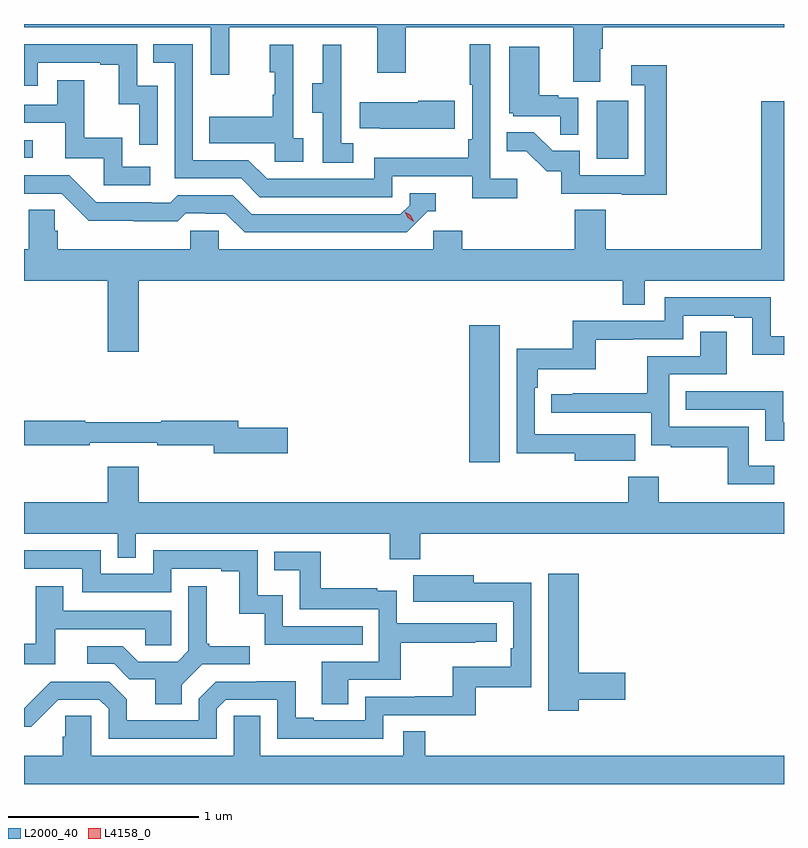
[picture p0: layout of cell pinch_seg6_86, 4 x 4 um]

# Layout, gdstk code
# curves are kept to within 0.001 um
import gdstk
lib = gdstk.Library(unit=1e-6, precision=1e-09)
def R(c, l, rs):  # rectangles x0, y0, x1, y1
    for r in rs: c.add(gdstk.rectangle(r[:2], r[2:], *l))
def P(c, l, *ps):  # polygons
    for p in ps: c.add(gdstk.Polygon(p, *l))
L2000_40 = (2000, 40)
L4158_0 = (4158, 0)

pinch_seg6_86 = lib.new_cell('pinch_seg6_86')
R(pinch_seg6_86, L2000_40, [(946.13,931.728,946.291,932.449), (946.802,933.324,946.966,933.631), (943.787,933.33,943.834,933.423)])
P(pinch_seg6_86, L2000_40, [(946.819,933.904),(946.832,933.904),(946.832,934.016),(947.787,934.016),(947.787,934.034),(943.787,934.034),(943.787,934.016),(944.769,934.016),(944.769,933.768),(944.867,933.768),(944.867,934.016),(945.647,934.016),(945.647,933.777),(945.795,933.777),(945.795,934.016),(946.679,934.016),(946.679,933.73),(946.819,933.73)],
  [(946.384,933.22),(946.242,933.22),(946.242,933.928),(946.134,933.928),(946.134,933.715),(946.146,933.715),(946.146,933.427),(946.126,933.427),(946.126,933.331),(945.63,933.331),(945.63,933.219),(945.066,933.219),(944.967,933.318),(944.676,933.318),(944.676,933.927),(944.467,933.927),(944.467,933.831),(944.58,933.831),(944.58,933.222),(944.93,933.222),(945.029,933.123),(945.726,933.123),(945.726,933.234),(946.145,933.234),(946.145,933.118),(946.384,933.118)],
  [(944.49,933.708),(944.382,933.708),(944.382,933.927),(943.787,933.927),(943.787,933.708),(943.86,933.708),(943.86,933.831),(944.189,933.831),(944.189,933.819),(944.285,933.819),(944.285,933.611),(944.394,933.611),(944.394,933.399),(944.49,933.399)],
  [(945.256,933.434),(945.204,933.434),(945.204,933.925),(945.08,933.925),(945.08,933.78),(945.106,933.78),(945.106,933.662),(945.096,933.662),(945.096,933.547),(944.761,933.547),(944.761,933.407),(945.108,933.407),(945.108,933.309),(945.256,933.309)],
  [(945.52,933.407),(945.456,933.407),(945.456,933.711),(945.458,933.711),(945.458,933.925),(945.359,933.925),(945.359,933.723),(945.305,933.723),(945.305,933.568),(945.36,933.568),(945.36,933.304),(945.52,933.304)],
  [(946.704,933.645),(946.598,933.645),(946.598,933.658),(946.498,933.658),(946.498,933.913),(946.34,933.913),(946.34,933.564),(946.362,933.564),(946.362,933.549),(946.609,933.549),(946.609,933.451),(946.704,933.451)],
  [(947.171,933.817),(946.983,933.817),(946.983,933.711),(947.055,933.711),(947.055,933.237),(946.713,933.237),(946.713,933.366),(946.569,933.366),(946.471,933.464),(946.327,933.464),(946.327,933.365),(946.431,933.365),(946.538,933.258),(946.615,933.258),(946.615,933.141),(946.933,933.141),(946.933,933.136),(947.171,933.136)],
  [(944.452,933.282),(944.304,933.282),(944.304,933.436),(944.105,933.436),(944.105,933.739),(943.961,933.739),(943.961,933.609),(943.787,933.609),(943.787,933.513),(944.003,933.513),(944.003,933.327),(944.208,933.327),(944.208,933.186),(944.452,933.186)],
  [(946.054,933.63),(945.863,933.63),(945.863,933.622),(945.553,933.622),(945.553,933.485),(945.661,933.485),(945.661,933.482),(946.054,933.482)],
  [(944.392,932.684),(946.939,932.684),(946.939,932.557),(947.055,932.557),(947.055,932.684),(947.787,932.684),(947.787,933.628),(947.666,933.628),(947.666,932.848),(946.85,932.848),(946.85,933.056),(946.685,933.056),(946.685,932.848),(946.094,932.848),(946.094,932.946),(945.942,932.946),(945.942,932.848),(944.811,932.848),(944.811,932.946),(944.661,932.946),(944.661,932.848),(943.964,932.848),(943.964,932.946),(943.949,932.946),(943.949,933.056),(943.812,933.056),(943.812,932.848),(943.787,932.848),(943.787,932.684),(944.228,932.684),(944.228,932.31),(944.392,932.31)],
  [(945.912,933.048),(945.955,933.048),(945.955,933.144),(945.816,933.144),(945.816,933.081),(945.768,933.033),(944.985,933.033),(944.886,933.132),(944.597,933.132),(944.558,933.093),(944.459,933.093),(944.459,933.096),(944.166,933.096),(944.025,933.237),(943.787,933.237),(943.787,933.141),(943.986,933.141),(944.128,932.999),(944.364,932.999),(944.364,932.997),(944.597,932.997),(944.639,933.039),(944.742,933.039),(944.742,933.036),(944.849,933.036),(944.948,932.937),(945.801,932.937)],
  [(947.003,931.876),(946.789,931.876),(946.789,931.875),(946.476,931.875),(946.476,932.12),(946.49,932.12),(946.49,932.216),(946.795,932.216),(946.795,932.371),(946.991,932.371),(946.991,932.376),(947.256,932.376),(947.256,932.499),(947.525,932.499),(947.525,932.487),(947.621,932.487),(947.621,932.294),(947.787,932.294),(947.787,932.391),(947.718,932.391),(947.718,932.595),(947.16,932.595),(947.16,932.472),(946.674,932.472),(946.674,932.326),(946.38,932.326),(946.38,931.774),(946.685,931.774),(946.685,931.736),(947.003,931.736)],
  [(947.735,931.708),(947.601,931.708),(947.601,931.914),(947.184,931.914),(947.184,932.19),(947.485,932.19),(947.485,932.414),(947.345,932.414),(947.345,932.286),(947.068,932.286),(947.068,932.09),(946.675,932.09),(946.675,932.085),(946.563,932.085),(946.563,931.989),(947.088,931.989),(947.088,931.817),(947.191,931.817),(947.191,931.806),(947.49,931.806),(947.49,931.611),(947.735,931.611)],
  [(947.787,931.939),(947.784,931.939),(947.784,932.1),(947.269,932.1),(947.269,932.004),(947.688,932.004),(947.688,931.841),(947.787,931.841)],
  [(945.175,931.91),(944.914,931.91),(944.914,931.946),(944.51,931.946),(944.51,931.939),(944.11,931.939),(944.11,931.946),(943.787,931.946),(943.787,931.818),(944.132,931.818),(944.132,931.83),(944.488,931.83),(944.488,931.818),(944.786,931.818),(944.786,931.775),(945.175,931.775)],
  [(945.872,931.352),(947.787,931.352),(947.787,931.516),(947.127,931.516),(947.127,931.651),(946.967,931.651),(946.967,931.516),(944.392,931.516),(944.392,931.705),(944.228,931.705),(944.228,931.516),(943.787,931.516),(943.787,931.352),(944.28,931.352),(944.28,931.225),(944.376,931.225),(944.376,931.352),(945.712,931.352),(945.712,931.217),(945.872,931.217)],
  [(945.569,930.864),(945.15,930.864),(945.15,931.027),(945.018,931.027),(945.018,931.263),(944.466,931.263),(944.466,931.14),(944.19,931.14),(944.19,931.263),(943.787,931.263),(943.787,931.167),(944.094,931.167),(944.094,931.044),(944.562,931.044),(944.562,931.167),(944.825,931.167),(944.825,931.155),(944.921,931.155),(944.921,930.929),(945.054,930.929),(945.054,930.768),(945.569,930.768)],
  [(945.493,930.582),(945.77,930.582),(945.77,930.778),(946.163,930.778),(946.163,930.783),(946.276,930.783),(946.276,930.879),(945.75,930.879),(945.75,931.051),(945.647,931.051),(945.647,931.063),(945.349,931.063),(945.349,931.257),(945.103,931.257),(945.103,931.16),(945.238,931.16),(945.238,930.954),(945.654,930.954),(945.654,930.678),(945.353,930.678),(945.353,930.454),(945.493,930.454)],
  [(946.708,930.478),(946.951,930.478),(946.951,930.62),(946.708,930.62),(946.708,931.141),(946.547,931.141),(946.547,930.42),(946.708,930.42)],
  [(944.802,930.429),(944.85,930.477),(945.12,930.477),(945.12,930.273),(945.678,930.273),(945.678,930.396),(946.165,930.396),(946.165,930.543),(946.458,930.543),(946.458,931.094),(946.153,931.094),(946.153,931.132),(945.835,931.132),(945.835,930.992),(946.362,930.993),(946.362,930.748),(946.349,930.748),(946.349,930.652),(946.044,930.652),(946.044,930.497),(945.847,930.497),(945.847,930.492),(945.582,930.492),(945.582,930.369),(945.313,930.369),(945.313,930.382),(945.217,930.382),(945.217,930.575),(945.012,930.575),(945.012,930.573),(944.796,930.573),(944.706,930.483),(944.706,930.369),(944.329,930.369),(944.329,930.479),(944.235,930.573),(943.929,930.573),(943.787,930.432),(943.787,930.335),(943.826,930.335),(943.968,930.477),(944.184,930.477),(944.232,930.429),(944.232,930.273),(944.802,930.273)],
  [(944.617,930.556),(944.724,930.663),(944.974,930.663),(944.974,930.76),(944.761,930.76),(944.761,930.772),(944.749,930.772),(944.749,931.075),(944.652,931.075),(944.652,930.735),(944.595,930.678),(944.389,930.678),(944.308,930.759),(944.121,930.759),(944.121,930.666),(944.262,930.666),(944.342,930.586),(944.477,930.586),(944.477,930.454),(944.617,930.454)],
  [(943.951,930.849),(944.425,930.849),(944.425,930.765),(944.562,930.765),(944.562,930.945),(943.993,930.945),(943.993,931.075),(943.849,931.075),(943.849,930.772),(943.787,930.772),(943.787,930.663),(943.951,930.663)],
  [(947.787,930.184),(945.899,930.184),(945.899,930.311),(945.783,930.311),(945.783,930.184),(945.031,930.184),(945.031,930.392),(944.892,930.392),(944.892,930.184),(944.142,930.184),(944.142,930.392),(944.005,930.392),(944.005,930.282),(943.991,930.282),(943.991,930.184),(943.787,930.184),(943.787,930.034),(947.787,930.034)])
P(pinch_seg6_86, L4158_0, [(945.838,932.994),(945.808,933.014),(945.792,933.047),(945.792,933.047),(945.792,933.047),(945.823,933.027),(945.838,932.994),(945.838,932.994)])

lib.write_gds('pinch_seg6_86.gds')
